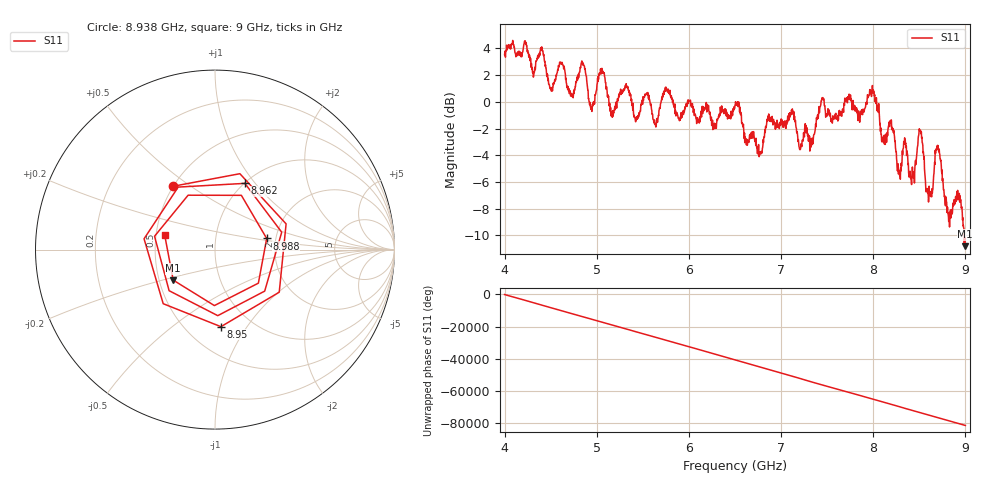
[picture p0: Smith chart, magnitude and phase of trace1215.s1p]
! Created with skrf 1.8.0 (http://scikit-rf.org).
# Hz S RI R 50.0
!freq ReS11 ImS11
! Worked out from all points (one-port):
!   1601 points, 4 GHz to 9 GHz, reference 50 ohm
!   lowest |S11| = -10.8 dB at 8.997 GHz (marker M1), VSWR 1.81, Z = 29.6 - j11 ohm
!   |S11| at or under -10 dB: 8.985854 GHz to end of sweep
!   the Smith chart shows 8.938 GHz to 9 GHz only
!   S11 on the Smith chart (normalised r, x): 8.938 GHz: 0.50, +0.43; 8.95 GHz: 0.73, -0.77; 8.962 GHz: 1.01, +0.89; 8.988 GHz: 1.79, +0.24; 9 GHz: 0.56, +0.10
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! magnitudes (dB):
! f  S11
! 4 GHz  3.5
! 4.503 GHz  0.9
! 4.625 GHz  2.8
! 4.728 GHz  0.6
! 4.853 GHz  2.9
! 4.941 GHz  -0.4
! 5.05 GHz  2.1
! 5.159 GHz  -1.1
! 5.25 GHz  0.6
! 5.875 GHz  -1.0
! 6.5 GHz  -0.3
! 6.769 GHz  -4.0
! 7.125 GHz  -0.7
! 7.216 GHz  -3.1
! 7.75 GHz  0.2
! 7.988 GHz  0.9
! 8.106 GHz  -2.8
! 8.375 GHz  -4.3
! 8.512 GHz  -2.1
! 8.597 GHz  -7.0
! 8.697 GHz  -3.3
! 8.803 GHz  -8.0
! 8.938 GHz  -7.5
! 8.95 GHz  -7.3
! 8.962 GHz  -7.9
! 8.988 GHz  -10.6
! 8.997 GHz  -10.8
! 9 GHz  -10.7
